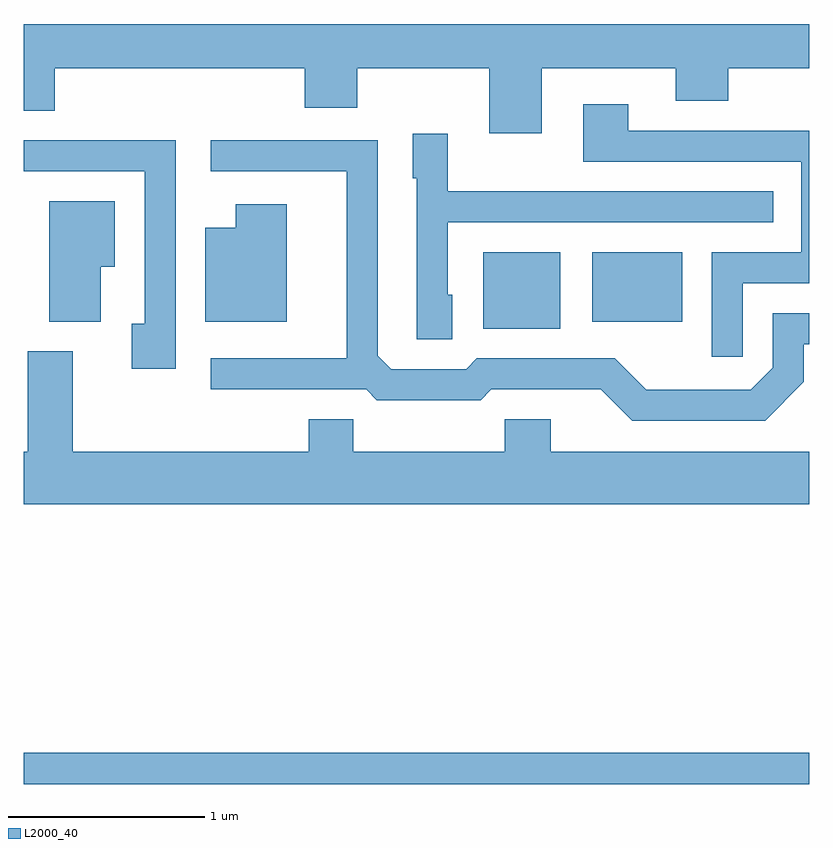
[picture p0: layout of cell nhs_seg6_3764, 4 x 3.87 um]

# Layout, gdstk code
import gdstk
lib = gdstk.Library(unit=1e-6, precision=1e-09)
def R(c, l, rs):  # rectangles x0, y0, x1, y1
    for r in rs: c.add(gdstk.rectangle(r[:2], r[2:], *l))
def P(c, l, *ps):  # polygons
    for p in ps: c.add(gdstk.Polygon(p, *l))
L2000_40 = (2000, 40)

nhs_seg6_3764 = lib.new_cell('nhs_seg6_3764')
R(nhs_seg6_3764, L2000_40, [(297.611,1646.291,301.611,1646.449), (299.951,1648.611,300.344,1648.999), (300.506,1648.646,300.964,1648.999)])
P(nhs_seg6_3764, L2000_40, [(300.249,1649.936),(300.931,1649.936),(300.931,1649.771),(301.199,1649.771),(301.199,1649.936),(301.611,1649.936),(301.611,1650.162),(297.611,1650.162),(297.611,1649.721),(297.769,1649.721),(297.769,1649.936),(299.041,1649.936),(299.041,1649.736),(299.309,1649.736),(299.309,1649.936),(299.981,1649.936),(299.981,1649.606),(300.249,1649.606)],
  [(301.274,1648.841),(301.611,1648.841),(301.611,1649.619),(300.689,1649.619),(300.689,1649.754),(300.461,1649.754),(300.461,1649.461),(301.571,1649.461),(301.571,1648.999),(301.116,1648.999),(301.116,1648.468),(301.274,1648.468)],
  [(299.794,1648.784),(299.769,1648.784),(299.769,1649.151),(301.428,1649.151),(301.428,1649.309),(299.769,1649.309),(299.769,1649.604),(299.591,1649.604),(299.591,1649.376),(299.611,1649.376),(299.611,1648.556),(299.794,1648.556)],
  [(301.584,1648.339),(301.584,1648.531),(301.611,1648.531),(301.611,1648.689),(301.426,1648.689),(301.426,1648.412),(301.314,1648.299),(300.782,1648.299),(300.622,1648.459),(299.919,1648.459),(299.864,1648.404),(299.482,1648.404),(299.414,1648.472),(299.414,1649.569),(298.563,1649.569),(298.563,1649.411),(299.256,1649.411),(299.256,1648.459),(298.563,1648.459),(298.563,1648.301),(299.354,1648.301),(299.409,1648.246),(299.937,1648.246),(299.992,1648.301),(300.549,1648.301),(300.709,1648.141),(301.387,1648.141)],
  [(298.384,1649.569),(297.611,1649.569),(297.611,1649.411),(298.226,1649.411),(298.226,1648.634),(298.161,1648.634),(298.161,1648.406),(298.384,1648.406)],
  [(298.004,1648.926),(298.074,1648.926),(298.074,1649.259),(297.741,1649.259),(297.741,1648.646),(298.004,1648.646)],
  [(298.949,1649.244),(298.691,1649.244),(298.691,1649.124),(298.536,1649.124),(298.536,1648.646),(298.949,1648.646)],
  [(301.611,1647.984),(300.294,1647.984),(300.294,1648.149),(300.061,1648.149),(300.061,1647.984),(299.289,1647.984),(299.289,1648.149),(299.061,1648.149),(299.061,1647.984),(297.859,1647.984),(297.859,1648.494),(297.631,1648.494),(297.631,1647.984),(297.611,1647.984),(297.611,1647.716),(301.611,1647.716)])

lib.write_gds('nhs_seg6_3764.gds')
